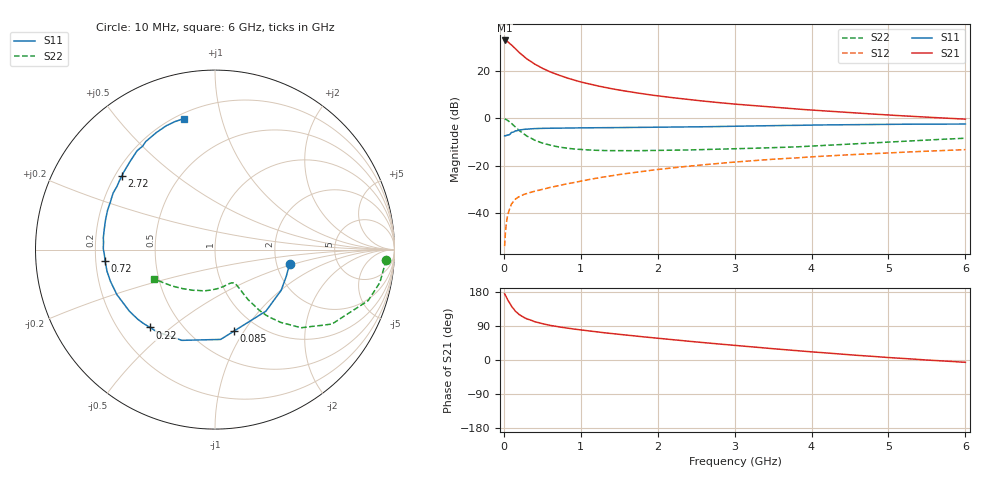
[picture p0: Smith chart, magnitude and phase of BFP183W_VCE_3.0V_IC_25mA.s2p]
! Infineon Technologies  Discrete & RF Semiconductors
! BFP183W
! VCE = 3.0 V,  IC =  25 mA
! Common Emitter S-Parameters:  Jan 2016
# GHz  S  MA  R  50
!  f  S11  S21  S12  S22
! GHz  MAG  ANG  MAG  ANG  MAG  ANG  MAG  ANG
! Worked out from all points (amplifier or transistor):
!   210 points, 10 MHz to 6 GHz, reference 50 ohm
!   highest |S21| = 32.7 dB at 10 MHz (marker M1)
!   |S21| within 3 dB of that: start of sweep to 134.5 MHz
!   unconditionally stable (mu >= 1): 784.9 MHz to 4.92 GHz
!   at 185 MHz: K = 0.40, MSG = 30.8 dB, |S12| = -33.4 dB
!   at 1.52 GHz: K = 1.15, MAG = 15.4 dB, |S12| = -23.7 dB
!   at 6 GHz: K = 0.96, MSG = 6.4 dB, |S12| = -13.3 dB
!   S11 on the Smith chart (normalised r, x): 10 MHz: 2.37, -0.45; 85 MHz: 0.78, -0.90; 220 MHz: 0.33, -0.42; 720 MHz: 0.24, -0.05; 2.72 GHz: 0.23, +0.33; 6 GHz: 0.23, +0.76
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0.01  0.4233 -10.6  43.34 174.7  0.002 83.2  0.9554 -3.5
0.03  0.4329 -31.6  42.75 166.9  0.0056 81.5  0.9367 -11.3
0.05  0.445 -50.4  40.85 158.4  0.0091 74.1  0.8996 -18.4
0.085  0.4657 -76.7  36.36 147.1  0.0135 63.7  0.8052 -27.8
0.1  0.5015 -86.4  34.95 141.4  0.0155 61.1  0.7725 -32.5
0.15  0.5384 -110.1  29.02 128.7  0.0196 53.5  0.648 -42.2
0.2  0.5609 -125.5  24.15 119.8  0.0222 49.9  0.5486 -47.8
0.22  0.5655 -129.9  22.68 117.5  0.023 48.9  0.5188 -49.2
0.26  0.5794 -138.0  19.95 112.5  0.0246 47.5  0.4632 -52.1
0.3  0.5878 -144.4  17.66 108.5  0.0258 47.0  0.4177 -53.9
0.4  0.6015 -155.4  13.79 101.1  0.0288 47.2  0.3435 -56.3
0.5  0.609 -163.3  11.25 95.7  0.0313 48.7  0.2974 -57.2
0.6  0.6137 -168.7  9.471 91.4  0.0346 50.3  0.2683 -57.6
0.72  0.6157 -174.3  8.01 87.3  0.0379 52.3  0.2457 -58.1
1.02  0.6225 176.1  5.681 78.9  0.0477 55.7  0.2172 -60.2
1.4  0.6304 166.7  4.173 69.8  0.0609 57.7  0.2064 -64.4
2.02  0.6429 154.1  2.922 57.0  0.0833 57.7  0.2086 -74.4
2.72  0.6623 141.7  2.182 43.7  0.1084 55.1  0.2192 -88.3
3.1  0.6769 135.5  1.918 36.9  0.122 53.0  0.2274 -96.8
4.1  0.7171 121.5  1.445 20.1  0.156 46.8  0.262 -120.9
5.1  0.7424 110.7  1.138 5.3  0.1882 40.3  0.3201 -141.7
6  0.75 103.4  0.951 -6.1  0.2166 34.8  0.3771 -154.7
